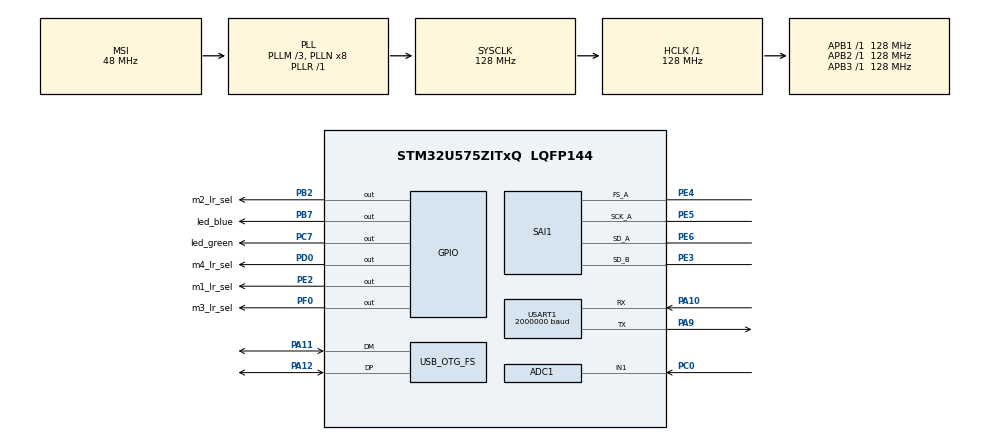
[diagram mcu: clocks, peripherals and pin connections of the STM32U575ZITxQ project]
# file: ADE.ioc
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ADC1.NbrOfConversion=1
ADC1.master=1
CORTEX_M33_NS.userName=CORTEX_M33
GPDMA1.ADDRESSING2D_GPDMACH13=DISABLE
GPDMA1.CIRCULARMODE_GPDMACH13=ENABLE
GPDMA1.CIRCULARMODE_GPDMACH14=ENABLE
GPDMA1.DESTDATAWIDTH_GPDMACH13=DMA_DEST_DATAWIDTH_WORD
GPDMA1.DESTDATAWIDTH_GPDMACH14=DMA_DEST_DATAWIDTH_WORD
GPDMA1.DESTINC_GPDMACH13=DMA_DINC_INCREMENTED
GPDMA1.DESTINC_GPDMACH14=DMA_DINC_INCREMENTED
GPDMA1.DIRECTION_GPDMACH15=DMA_MEMORY_TO_PERIPH
GPDMA1.IPHANDLE_GPDMACH13-SIMPLEREQUEST_GPDMACH13=__NULL
GPDMA1.IPHANDLE_GPDMACH14-SIMPLEREQUEST_GPDMACH14=__NULL
GPDMA1.IPHANDLE_GPDMACH15-SIMPLEREQUEST_GPDMACH15=__NULL
GPDMA1.PRIORITY_GPDMACH15=DMA_LOW_PRIORITY_HIGH_WEIGHT
GPDMA1.PRIORITY_LL_CIRCULAR_GPDMACH13=DMA_HIGH_PRIORITY
GPDMA1.PRIORITY_LL_CIRCULAR_GPDMACH14=DMA_HIGH_PRIORITY
GPDMA1.REQUEST_GPDMACH13=GPDMA1_REQUEST_SAI1_B
GPDMA1.REQUEST_GPDMACH14=GPDMA1_REQUEST_SAI1_A
GPDMA1.REQUEST_GPDMACH15=GPDMA1_REQUEST_USART1_TX
GPDMA1.SRCDATAWIDTH_GPDMACH13=DMA_SRC_DATAWIDTH_WORD
GPDMA1.SRCDATAWIDTH_GPDMACH14=DMA_SRC_DATAWIDTH_WORD
GPDMA1.SRCINC_GPDMACH14=DMA_SINC_FIXED
GPDMA1.SRCINC_GPDMACH15=DMA_SINC_INCREMENTED
Mcu.Family=STM32U5
Mcu.Name=STM32U575ZITxQ
Mcu.Package=LQFP144
NUCLEO-U575ZI-Q.BUTTON=1
NUCLEO-U575ZI-Q.LD1=true
NUCLEO-U575ZI-Q.LD2=true
NUCLEO-U575ZI-Q.LD3=true
NUCLEO-U575ZI-Q.VCP=false
NVIC.EXTI13_IRQn=true\:0\:0\:false\:false\:true\:false\:true\:true
NVIC.GPDMA1_Channel13_IRQn=true\:0\:0\:false\:false\:true\:false\:true\:true
NVIC.GPDMA1_Channel14_IRQn=true\:0\:0\:false\:false\:true\:false\:true\:true
NVIC.GPDMA1_Channel15_IRQn=true\:0\:0\:false\:false\:true\:false\:true\:true
NVIC.PriorityGroup=NVIC_PRIORITYGROUP_3
NVIC.SAI1_IRQn=true\:0\:0\:false\:false\:true\:true\:true\:true
NVIC.TIM17_IRQn=true\:0\:0\:true\:false\:true\:false\:true\:true
NVIC.TimeBase=TIM17_IRQn
NVIC.TimeBaseIP=TIM17
NVIC.USART1_IRQn=true\:0\:0\:false\:false\:true\:true\:true\:true
PA10.Mode=Asynchronous
PA10.Signal=USART1_RX
PA11.Mode=Host_Only
PA11.Signal=USB_OTG_FS_DM
PA12.Mode=Host_Only
PA12.Signal=USB_OTG_FS_DP
PA13\ (JTMS/SWDIO).Mode=Serial_Wire
PA13\ (JTMS/SWDIO).Signal=DEBUG_JTMS-SWDIO
PA14\ (JTCK/SWCLK).Mode=Serial_Wire
PA14\ (JTCK/SWCLK).Signal=DEBUG_JTCK-SWCLK
PA9.Mode=Asynchronous
PA9.Signal=USART1_TX
PB2.GPIO_Label=m2_lr_sel
PB2.Signal=GPIO_Output
PB3\ (JTDO/TRACESWO).Signal=DEBUG_JTDO-SWO
PB7.GPIO_Label=led_blue
PB7.Signal=GPIO_Output
PC0.Mode=IN1-Single-Ended
PC0.Signal=ADC1_IN1
PC14-OSC32_IN\ (PC14).Mode=LSE-External-Oscillator
PC14-OSC32_IN\ (PC14).Signal=RCC_OSC32_IN
PC15-OSC32_OUT\ (PC15).Mode=LSE-External-Oscillator
PC15-OSC32_OUT\ (PC15).Signal=RCC_OSC32_OUT
PC7.GPIO_Label=led_green
PC7.Signal=GPIO_Output
PD0.GPIO_Label=m4_lr_sel
PD0.Signal=GPIO_Output
PE2.GPIO_Label=m1_lr_sel
PE2.Signal=GPIO_Output
PE3.Mode=SAI_B_SyncSlave
PE3.Signal=SAI1_SD_B
PE4.Mode=SAI_A_Master
PE4.Signal=SAI1_FS_A
PE5.Mode=SAI_A_Master
PE5.Signal=SAI1_SCK_A
PE6.Mode=SAI_A_Master
PE6.Signal=SAI1_SD_A
PF0.GPIO_Label=m3_lr_sel
PF0.Signal=GPIO_Output
PWR.PowerMode=PWR_SMPS_SUPPLY
ProjectManager.HeapSize=0x200
ProjectManager.StackSize=0x400
ProjectManager.TargetToolchain=STM32CubeIDE
RCC.ADCFreq_Value=16000000
RCC.AHBFreq_Value=128000000
RCC.APB1Freq_Value=128000000
RCC.APB1TimFreq_Value=128000000
RCC.APB2Freq_Value=128000000
RCC.APB2TimFreq_Value=128000000
RCC.APB3Freq_Value=128000000
RCC.CortexFreq_Value=128000000
RCC.DACCLockSelectionVirtual=RCC_DAC1CLKSOURCE_LSI
RCC.EPOD_VALUE=48000000
RCC.HCLKFreq_Value=128000000
RCC.HSE_VALUE=16000000
RCC.HSI48_VALUE=48000000
RCC.HSI_VALUE=16000000
RCC.LSIDIV_VALUE=32000
RCC.MSIClockRange=RCC_MSIRANGE_0
RCC.MSI_VALUE=48000000
RCC.PLL1R=1
RCC.PLL2FRACN=3072
RCC.PLL2M=3
RCC.PLL2N=15
RCC.PLL3FRACN=0
RCC.PLLFRACN=0
RCC.PLLM=3
RCC.PLLN=8
RCC.SYSCLKFreq_VALUE=128000000
RCC.SYSCLKSource=RCC_SYSCLKSOURCE_PLLCLK
RCC.USBFreq_Value=48000000
RCC.VCOOutputFreq_Value=128000000
SAI1.AudioFrequency-SAI_A_Master=SAI_AUDIO_FREQUENCY_48K
SAI1.AudioMode-SAI_A_Master=SAI_MODEMASTER_RX
SAI1.BasicDataSize-SAI_A_Master=SAI_PROTOCOL_DATASIZE_24BIT
SAI1.BasicDataSize-SAI_B_SyncSlave=SAI_PROTOCOL_DATASIZE_24BIT
SAI1.BasicProtocol-SAI_A_Master=SAI_I2S_STANDARD
SAI1.ErrorAudioFreq-SAI_A_Master=0.09 %
SAI1.FIFOThreshold-SAI_A_Master=SAI_FIFOTHRESHOLD_EMPTY
SAI1.InitProtocol-SAI_A_Master=Enable
SAI1.InitProtocol-SAI_B_SyncSlave=Enable
SAI1.Instance-SAI_A_Master=SAI$Index_Block_A
SAI1.Instance-SAI_B_SyncSlave=SAI$Index_Block_B
SAI1.MckOutput-SAI_A_Master=SAI_MCK_OUTPUT_DISABLE
SAI1.NoDivider-SAI_A_Master=SAI_MASTERDIVIDER_ENABLE
SAI1.NoDivider-SAI_B_SyncSlave=SAI_MASTERDIVIDER_ENABLE
SAI1.OutputDrive-SAI_A_Master=SAI_OUTPUTDRIVE_ENABLE
SAI1.RealAudioFreq-SAI_A_Master=48.046 KHz
SAI1.RealAudioFreq-SAI_B_SyncSlave=0 Hz
SAI1.VirtualMode-SAI_A_Master=VM_MASTER
SAI1.VirtualMode-SAI_B_SyncSlave=VM_SLAVE
SAI1.VirtualProtocol-SAI_A_BASIC=VM_BASIC_PROTOCOL
SAI1.VirtualProtocol-SAI_B_BASIC=VM_BASIC_PROTOCOL
STMicroelectronics.X-CUBE-ALGOBUILD.1.4.0.LibraryCcDSPOoLibraryJjDSPOoLibrary=true
USART1.BaudRate=2000000
USART1.VirtualMode-Asynchronous=VM_ASYNC
USB_OTG_FS.VirtualMode=Host_Only
USB_OTG_FS.phy_itface=HCD_PHY_EMBEDDED
VP_DCACHE1_VS_DCACHE.Mode=DCACHE_Activate
VP_GPDMA1_VS_GPDMACH13.Mode=SIMPLEREQUEST_GPDMACH13
VP_GPDMA1_VS_GPDMACH14.Mode=SIMPLEREQUEST_GPDMACH14
VP_GPDMA1_VS_GPDMACH15.Mode=SIMPLEREQUEST_GPDMACH15
VP_ICACHE_VS_ENABLE_ICACHE_MEMORY.Mode=Memoryregions
VP_ICACHE_VS_ICACHE.Mode=DirectMappedCache
VP_LPBAMQUEUE_VS_QUEUE.Mode=QUEUEMODE
VP_LPBAM_VS_SIG1.Mode=SmartRun
VP_LPBAM_VS_SIG4.Mode=LPDMA1
VP_MEMORYMAP_VS_MEMORYMAP.Mode=CurAppReg
VP_NUCLEO-U575ZI-Q_VS_BSP_COMMON.Mode=COMMON
VP_PWR_VS_DBSignals.Mode=DisableDeadBatterySignals
VP_PWR_VS_LPOM.Mode=PowerOptimisation
VP_PWR_VS_SECSignals.Mode=Security/Privilege
VP_PWR_Vdda.Mode=isolationVdda
VP_SAI1_VP_$IpInstance_SAIA_SAI_BASIC.Mode=SAI_A_BASIC
VP_SAI1_VP_$IpInstance_SAIB_SAI_BASIC.Mode=SAI_B_BASIC
VP_STMicroelectronics.X-CUBE-ALGOBUILD_VS_DSPOoLibraryJjLibrary_1.4.0_1.4.0.Mode=DSPOoLibraryJjLibrary
VP_SYS_VS_tim17.Mode=TIM17
board=NUCLEO-U575ZI-Q

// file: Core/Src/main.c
/* USER CODE BEGIN Header */
/**
  ******************************************************************************
  * @file           : main.c
  * @brief          : Main program body
  ******************************************************************************
  * @attention
  *
  * Copyright (c) 2024 STMicroelectronics.
  * All rights reserved.
  *
  * This software is licensed under terms that can be found in the LICENSE file
  * in the root directory of this software component.
  * If no LICENSE file comes with this software, it is provided AS-IS.
  *
  ******************************************************************************
  */
/* USER CODE END Header */
#include "main.h"
#include "adc.h"
#include "dcache.h"
#include "gpdma.h"
#include "icache.h"
#include "memorymap.h"
#include "sai.h"
#include "usart.h"
#include "usb_otg.h"
#include "gpio.h"

/* USER CODE BEGIN Includes */

/* Must include the CMSIS-DSP library header */
#define ARM_MATH_CM33
#include "arm_math.h"

/* USER CODE END Includes */

/* USER CODE BEGIN PTD */

// --- Core Algorithm Defines ---
#define SAMPLE_RATE         48000
#define FFT_SIZE            1024

// Structure for UART data packets for a linear array with averaging
#define UART_PACKET_HEADER 0xABCD
#define NUM_MICS            4
#define NUM_PAIRS           3
#define UART_TX_CYCLE_INTERVAL 5 // Transmit every 5 processing cycles

#define MIC_1 0
#define MIC_2 1
#define MIC_3 0
#define MIC_4 1

// DMA buffers receive interleaved data (L/R) for each block
#define SAI_RX_BUFFER_SIZE  (FFT_SIZE * 2)

// --- Physical Constants ---
#define SPEED_OF_SOUND      343.0f
// Distance between ADJACENT microphones in the linear array.
#define MIC_ADJACENT_DISTANCE 0.1 // e.g., 10 cm, 3.5 cm

#ifndef M_PI
#define M_PI 3.14159265358979323846f
#endif

#define IIR_NUM_STAGES 2

typedef struct UART_DataPacket{
    uint16_t header;
    uint16_t angle_q10; // Averaged angle in degrees (0-180), scaled by 2^10
    uint32_t timestamp; // Milliseconds since startup (from HAL_GetTick())
    int16_t lags[NUM_PAIRS];    // Lags for Mic1-2, Mic2-3, Mic3-4
    int16_t reserved;
    float32_t correlation_pair1[FFT_SIZE];
    float32_t correlation_pair2[FFT_SIZE];
    float32_t correlation_pair3[FFT_SIZE];
}UART_DataPacket;

// Double buffers for circular DMA for each SAI block
int32_t sai_a_dma_buffer[SAI_RX_BUFFER_SIZE * 2];
int32_t sai_b_dma_buffer[SAI_RX_BUFFER_SIZE * 2];

// Buffers for de-interleaved, single-channel floating point audio data
float32_t mic_buffers[NUM_MICS][FFT_SIZE];

// Buffers for FFT and correlation processing
float32_t fft_buffer1[FFT_SIZE * 2];
float32_t fft_buffer2[FFT_SIZE * 2];
float32_t correlation_output[FFT_SIZE * 2];

// CMSIS-DSP RFFT instance
arm_rfft_fast_instance_f32 fft_instance;

uint32_t time_diff_ms = 0; // Time difference in milliseconds for timestamping

// --- Synchronization and Data Pointers ---
volatile uint8_t data_ready_flags = 0;
volatile int32_t* processing_ptr_a = NULL;
volatile int32_t* processing_ptr_b = NULL;
float32_t average_angle;

// --- IIR Filter Variables ---
// Filter instance for each microphone channel
arm_biquad_casd_df1_inst_f32 iir_filter_instances[NUM_MICS];

// State buffer for each microphone's filter. Must be NUM_STAGES * 2 in size.
float32_t iir_filter_states[NUM_MICS][IIR_NUM_STAGES * 2];

// Coefficients for a 2-stage IIR band-pass filter (Butterworth)
// Designed for Fs=48kHz, Passband: 300Hz - 3400Hz
const float32_t iir_filter_coeffs[IIR_NUM_STAGES * 5] = {
    // b0,    b1,      b2,      a1,      a2
    0.0465f, 0,      -0.0465f, -1.892f,  0.9069f, // Stage 1
    0.3479f, -0.6959f, 0.3479f, -1.1818f, 0.4908f  // Stage 2
};

// UART transmit buffer
UART_DataPacket uart_tx_packet;

/* USER CODE END PTD */

void SystemClock_Config(void);
void PeriphCommonClock_Config(void);
static void SystemPower_Config(void);
/* USER CODE BEGIN PFP */

void process_audio_data(void);
int16_t calculate_tdoa_lag(float32_t* mic1_data, float32_t* mic2_data, float32_t* correlation_result);
float32_t calculate_angle_from_lag(int16_t lag, float32_t distance);
void transmit_uart_data(float32_t angle, int16_t* lags, float32_t correlation_results[NUM_PAIRS][FFT_SIZE]);

/* USER CODE END PFP */

int main(void)
{

  /* MCU Configuration--------------------------------------------------------*/

  /* Reset of all peripherals, Initializes the Flash interface and the Systick. */
  HAL_Init();

  /* Configure the System Power */
  SystemPower_Config();

  /* Configure the system clock */
  SystemClock_Config();

  /* Configure the peripherals common clocks */
  PeriphCommonClock_Config();

  /* Initialize all configured peripherals */
  MX_GPIO_Init();
  MX_GPDMA1_Init();
  MX_ICACHE_Init();
  MX_SAI1_Init();
  MX_USB_OTG_FS_HCD_Init();
  MX_USART1_UART_Init();
  MX_ADC1_Init();
  MX_DCACHE1_Init();
  /* USER CODE BEGIN 2 */

  if (arm_rfft_fast_init_f32(&fft_instance, FFT_SIZE) != ARM_MATH_SUCCESS) {
    HAL_GPIO_WritePin(led_blue_GPIO_Port, led_blue_Pin, GPIO_PIN_SET);
  }

  // Initialize the IIR filter for each microphone channel
  for (int i = 0; i < NUM_MICS; i++) {
    arm_biquad_cascade_df1_init_f32(&iir_filter_instances[i], IIR_NUM_STAGES, iir_filter_coeffs, iir_filter_states[i]);
  	arm_biquad_cascade_df1_f32(&iir_filter_instances[i], mic_buffers[i], mic_buffers[i], FFT_SIZE);
  }
    // Start SAI audio capture for BOTH blocks

  if (HAL_SAI_Receive_DMA(&hsai_BlockA1, (uint8_t*)sai_a_dma_buffer, SAI_RX_BUFFER_SIZE * 2) != HAL_OK) {
      HAL_GPIO_WritePin(led_green_GPIO_Port, led_green_Pin, GPIO_PIN_SET);
  }

   if (HAL_SAI_Receive_DMA(&hsai_BlockB1, (uint8_t*)sai_b_dma_buffer, SAI_RX_BUFFER_SIZE * 2) != HAL_OK) {
       HAL_GPIO_WritePin(led_green_GPIO_Port, led_green_Pin, GPIO_PIN_SET);
   }

  /* USER CODE END 2 */

  /* Initialize leds */
  BSP_LED_Init(LED_GREEN);
  BSP_LED_Init(LED_BLUE);
  BSP_LED_Init(LED_RED);

  /* Initialize USER push-button, will be used to trigger an interrupt each time it's pressed.*/
  BSP_PB_Init(BUTTON_USER, BUTTON_MODE_EXTI);

  /* Infinite loop */
  /* USER CODE BEGIN WHILE */

  // Set Mics SAI1 A Left and Right
  // TODO: add m3 and m4
  HAL_GPIO_WritePin(m1_lr_sel_GPIO_Port, m1_lr_sel_Pin, MIC_1);
  HAL_GPIO_WritePin(m2_lr_sel_GPIO_Port, m2_lr_sel_Pin, MIC_2);
  HAL_GPIO_WritePin(m3_lr_sel_GPIO_Port, m3_lr_sel_Pin, MIC_3);
  HAL_GPIO_WritePin(m4_lr_sel_GPIO_Port, m4_lr_sel_Pin, MIC_4);

  while (1)
  {

    if (data_ready_flags) {

    	// Taking 18 ms to process
        process_audio_data();
        HAL_GPIO_TogglePin(led_green_GPIO_Port, led_green_Pin); // Indicate processing done

        // Reset flag after processing
        data_ready_flags = 0;
    }
    /* USER CODE END WHILE */

  }
}

void SystemClock_Config(void)
{
  RCC_OscInitTypeDef RCC_OscInitStruct = {0};
  RCC_ClkInitTypeDef RCC_ClkInitStruct = {0};

  /** Configure the main internal regulator output voltage
  */
  if (HAL_PWREx_ControlVoltageScaling(PWR_REGULATOR_VOLTAGE_SCALE1) != HAL_OK)
  {
    Error_Handler();
  }

  /** Initializes the CPU, AHB and APB buses clocks
  */
  RCC_OscInitStruct.OscillatorType = RCC_OSCILLATORTYPE_HSI48|RCC_OSCILLATORTYPE_HSI
                              |RCC_OSCILLATORTYPE_MSI;
  RCC_OscInitStruct.HSIState = RCC_HSI_ON;
  RCC_OscInitStruct.HSI48State = RCC_HSI48_ON;
  RCC_OscInitStruct.HSICalibrationValue = RCC_HSICALIBRATION_DEFAULT;
  RCC_OscInitStruct.MSIState = RCC_MSI_ON;
  RCC_OscInitStruct.MSICalibrationValue = RCC_MSICALIBRATION_DEFAULT;
  RCC_OscInitStruct.MSIClockRange = RCC_MSIRANGE_0;
  RCC_OscInitStruct.PLL.PLLState = RCC_PLL_ON;
  RCC_OscInitStruct.PLL.PLLSource = RCC_PLLSOURCE_MSI;
  RCC_OscInitStruct.PLL.PLLMBOOST = RCC_PLLMBOOST_DIV4;
  RCC_OscInitStruct.PLL.PLLM = 3;
  RCC_OscInitStruct.PLL.PLLN = 8;
  RCC_OscInitStruct.PLL.PLLP = 2;
  RCC_OscInitStruct.PLL.PLLQ = 2;
  RCC_OscInitStruct.PLL.PLLR = 1;
  RCC_OscInitStruct.PLL.PLLRGE = RCC_PLLVCIRANGE_1;
  RCC_OscInitStruct.PLL.PLLFRACN = 0;
  if (HAL_RCC_OscConfig(&RCC_OscInitStruct) != HAL_OK)
  {
    Error_Handler();
  }

  /** Initializes the CPU, AHB and APB buses clocks
  */
  RCC_ClkInitStruct.ClockType = RCC_CLOCKTYPE_HCLK|RCC_CLOCKTYPE_SYSCLK
                              |RCC_CLOCKTYPE_PCLK1|RCC_CLOCKTYPE_PCLK2
                              |RCC_CLOCKTYPE_PCLK3;
  RCC_ClkInitStruct.SYSCLKSource = RCC_SYSCLKSOURCE_PLLCLK;
  RCC_ClkInitStruct.AHBCLKDivider = RCC_SYSCLK_DIV1;
  RCC_ClkInitStruct.APB1CLKDivider = RCC_HCLK_DIV1;
  RCC_ClkInitStruct.APB2CLKDivider = RCC_HCLK_DIV1;
  RCC_ClkInitStruct.APB3CLKDivider = RCC_HCLK_DIV1;

  if (HAL_RCC_ClockConfig(&RCC_ClkInitStruct, FLASH_LATENCY_3) != HAL_OK)
  {
    Error_Handler();
  }
}

void PeriphCommonClock_Config(void)
{
  RCC_PeriphCLKInitTypeDef PeriphClkInit = {0};

  /** Initializes the common periph clock
  */
  PeriphClkInit.PeriphClockSelection = RCC_PERIPHCLK_SAI1;
  PeriphClkInit.Sai1ClockSelection = RCC_SAI1CLKSOURCE_PLL2;
  PeriphClkInit.PLL2.PLL2Source = RCC_PLLSOURCE_MSI;
  PeriphClkInit.PLL2.PLL2M = 3;
  PeriphClkInit.PLL2.PLL2N = 15;
  PeriphClkInit.PLL2.PLL2P = 2;
  PeriphClkInit.PLL2.PLL2Q = 2;
  PeriphClkInit.PLL2.PLL2R = 2;
  PeriphClkInit.PLL2.PLL2RGE = RCC_PLLVCIRANGE_1;
  PeriphClkInit.PLL2.PLL2FRACN = 3072;
  PeriphClkInit.PLL2.PLL2ClockOut = RCC_PLL2_DIVP;
  if (HAL_RCCEx_PeriphCLKConfig(&PeriphClkInit) != HAL_OK)
  {
    Error_Handler();
  }
}

/**
  * @brief Power Configuration
  * @retval None
  */
static void SystemPower_Config(void)
{

  /*
   * Disable the internal Pull-Up in Dead Battery pins of UCPD peripheral
   */
  HAL_PWREx_DisableUCPDDeadBattery();

  /*
   * Switch to SMPS regulator instead of LDO
   */
  if (HAL_PWREx_ConfigSupply(PWR_SMPS_SUPPLY) != HAL_OK)
  {
    Error_Handler();
  }
}

/* USER CODE BEGIN 4 */

/**
  * @brief  Bir ses verisi bloğunu işleyerek ses yönünü hesaplar.
  * @retval None
  */
void process_audio_data(void)
{
    static uint8_t tx_cycle_counter = 0;
    float32_t all_correlation_outputs[NUM_PAIRS][FFT_SIZE];
    float32_t dc_offset;

    // Adım 0: Önbellek Yönetimi
//    SCB_InvalidateDCache_by_Addr((uint32_t*)processing_ptr_a, SAI_RX_BUFFER_SIZE * sizeof(int32_t));
//    SCB_InvalidateDCache_by_Addr((uint32_t*)processing_ptr_b, SAI_RX_BUFFER_SIZE * sizeof(int32_t));

    // Adım 1: Ham DMA verilerini ayrıştır (De-interleave)
    for (int i = 0; i < FFT_SIZE; i++) {
        mic_buffers[0][i] = (float32_t)(processing_ptr_a[i * 2] >> 8);
        mic_buffers[1][i] = (float32_t)(processing_ptr_a[i * 2 + 1] >> 8);
        mic_buffers[2][i] = (float32_t)(processing_ptr_b[i * 2] >> 8);
        mic_buffers[3][i] = (float32_t)(processing_ptr_b[i * 2 + 1] >> 8);
    }

    // Adım 2: DC Ofseti Kaldır
    for (int i = 0; i < NUM_MICS; i++) {
    	arm_mean_f32(mic_buffers[i], FFT_SIZE, &dc_offset);
    	arm_offset_f32(mic_buffers[i], -dc_offset, mic_buffers[i], FFT_SIZE);
    }

    // Adım 3: Komşu mikrofon çiftleri için TDOA gecikmesini (lag) hesapla
    // Bu bölüm Python kodundaki TDOA hesaplama döngüsüne karşılık gelir
    int16_t lags[NUM_PAIRS];
    lags[0] = calculate_tdoa_lag(mic_buffers[0], mic_buffers[1], all_correlation_outputs[0]); // Çift 1-2
    lags[1] = calculate_tdoa_lag(mic_buffers[1], mic_buffers[2], all_correlation_outputs[1]); // Çift 2-3
    lags[2] = calculate_tdoa_lag(mic_buffers[2], mic_buffers[3], all_correlation_outputs[2]); // Çift 3-4

    // Adım 4: Her gecikmeyi bir açıya dönüştür ve sonuçların ortalamasını al
    // Bu bölüm Python kodundaki "Açıyı Her Mikrofon Çifti İçin Tahmin Etme" kısmına karşılık gelir
    float32_t angles[NUM_PAIRS];
    float32_t angle_sum = 0.0f;
    uint8_t valid_pairs = 0;

    for (int i = 0; i < NUM_PAIRS; i++) {
        angles[i] = calculate_angle_from_lag(lags[i], MIC_ADJACENT_DISTANCE);
        if (angles[i] > 0.0f && angles[i] < 180.0f) {
             angle_sum += angles[i];
             valid_pairs++;
        }
    }

    // Python'daki `np.mean()` gibi, geçerli çiftlerin ortalamasını hesapla
    average_angle = (valid_pairs > 0) ? (angle_sum / valid_pairs) : average_angle;

    // Adım 5: Veri gönderme zamanı mı diye kontrol et
    tx_cycle_counter++;
    if (tx_cycle_counter >= UART_TX_CYCLE_INTERVAL) {
        transmit_uart_data(average_angle, lags, all_correlation_outputs);
        tx_cycle_counter = 0;
    }
}

/**
 * @brief  Bir veri paketini UART üzerinden DMA kullanarak doldurur ve gönderir.
 */
void transmit_uart_data(float32_t angle, int16_t* lags, float32_t correlation_results[NUM_PAIRS][FFT_SIZE]) {
    if (huart1.gState != HAL_UART_STATE_READY) {
        return;
    }

    uart_tx_packet.header = UART_PACKET_HEADER;
    uart_tx_packet.angle_q10 = (uint16_t)(angle * 256.0f);
    uart_tx_packet.timestamp = HAL_GetTick();
    memcpy(uart_tx_packet.lags, lags, sizeof(uart_tx_packet.lags));
    uart_tx_packet.reserved = 0;

    memcpy(uart_tx_packet.correlation_pair1, correlation_results[0], FFT_SIZE * sizeof(float32_t));
    memcpy(uart_tx_packet.correlation_pair2, correlation_results[1], FFT_SIZE * sizeof(float32_t));
    memcpy(uart_tx_packet.correlation_pair3, correlation_results[2], FFT_SIZE * sizeof(float32_t));

    HAL_UART_Transmit_DMA(&huart1, (uint8_t*)&uart_tx_packet, sizeof(UART_DataPacket));
}

/**
  * @brief  Bir TDOA gecikmesi ve çift mesafesinden yön açısını hesaplar.
  */
float32_t calculate_angle_from_lag(int16_t lag, float32_t distance)
{
    float32_t dt = (float32_t)lag / SAMPLE_RATE;
    float32_t cos_theta = (dt * SPEED_OF_SOUND) / distance;
    cos_theta = fmaxf(-1.0f, fminf(1.0f, cos_theta));
    float32_t angle_rad = acosf(cos_theta);
    return angle_rad * 180.0f / M_PI;
}

/**
  * @brief  GCC-PHAT kullanarak zaman gecikmesini (lag) hesaplar ve sonucu saklar.
  */
int16_t calculate_tdoa_lag(float32_t* mic1_data, float32_t* mic2_data, float32_t* correlation_result)
{
    float32_t temp_corr_buffer[FFT_SIZE * 2];
    memcpy(fft_buffer1, mic1_data, FFT_SIZE * sizeof(float32_t));
    memcpy(fft_buffer2, mic2_data, FFT_SIZE * sizeof(float32_t));
    arm_rfft_fast_f32(&fft_instance, fft_buffer1, fft_buffer1, 0);
    arm_rfft_fast_f32(&fft_instance, fft_buffer2, fft_buffer2, 0);

    for (int i = 0; i < FFT_SIZE * 2; i += 2) {
        float32_t X_re = fft_buffer1[i], X_im = fft_buffer1[i+1];
        float32_t Y_re = fft_buffer2[i], Y_im = fft_buffer2[i+1];
        float32_t R_re = X_re * Y_re + X_im * Y_im;
        float32_t R_im = X_im * Y_re - X_re * Y_im;
        float32_t R_mag;
        arm_sqrt_f32(R_re * R_re + R_im * R_im, &R_mag);
        if (R_mag > 1e-9) {
            temp_corr_buffer[i]   = R_re / R_mag;
            temp_corr_buffer[i+1] = R_im / R_mag;
        } else {
            temp_corr_buffer[i]   = 0.0f;
            temp_corr_buffer[i+1] = 0.0f;
        }
    }

    arm_rfft_fast_f32(&fft_instance, temp_corr_buffer, correlation_result, 1);

    float32_t max_val;
    uint32_t max_idx;
    arm_max_f32(correlation_result, FFT_SIZE, &max_val, &max_idx);
    int16_t lag_val = max_idx;
    if (lag_val >= FFT_SIZE / 2) {
        lag_val -= FFT_SIZE;
    }
    return lag_val;
}

// --- DMA Transfer Complete Callbacks ---
volatile uint8_t dma_sync_flags = 0;
void trigger_processing(uint8_t half) {
    if (dma_sync_flags == 0x03) {
        if(half == 0) {
            processing_ptr_a = &sai_a_dma_buffer[0];
            processing_ptr_b = &sai_b_dma_buffer[0];
        } else {
            processing_ptr_a = &sai_a_dma_buffer[SAI_RX_BUFFER_SIZE];
            processing_ptr_b = &sai_b_dma_buffer[SAI_RX_BUFFER_SIZE];
        }
        data_ready_flags = 1;
        dma_sync_flags = 0;
    }
}
void HAL_SAI_RxHalfCpltCallback(SAI_HandleTypeDef *hsai)
{
  if (hsai->Instance == SAI1_Block_A) {
      dma_sync_flags |= (1 << 0);
  } else if (hsai->Instance == SAI1_Block_B) {
      dma_sync_flags |= (1 << 1);
  }
  trigger_processing(0);
}
void HAL_SAI_RxCpltCallback(SAI_HandleTypeDef *hsai)
{
  if (hsai->Instance == SAI1_Block_A) {
      dma_sync_flags |= (1 << 0);
  } else if (hsai->Instance == SAI1_Block_B) {
      dma_sync_flags |= (1 << 1);
  }
  trigger_processing(1);
}

/**
  * @brief  UART Transmit Complete Callback.
  * @param  huart: UART handle.
  * @retval None
  */
void HAL_UART_TxCpltCallback(UART_HandleTypeDef *huart)
{
  // This callback is called by the HAL driver when the UART DMA transfer is complete.
  // Its existence is all that's needed for the HAL driver to correctly reset
  // the huart->gState back to HAL_UART_STATE_READY, allowing the next transfer to start.
  if (huart->Instance == USART1)
  {
      // You could add code here if you needed to, e.g., to toggle an LED.
  }
}

/* USER CODE END 4 */

void HAL_TIM_PeriodElapsedCallback(TIM_HandleTypeDef *htim)
{
  if (htim->Instance == TIM17) {
    HAL_IncTick();
  }
}

void Error_Handler(void)
{
  __disable_irq();
  while (1)
  {
  }
}
